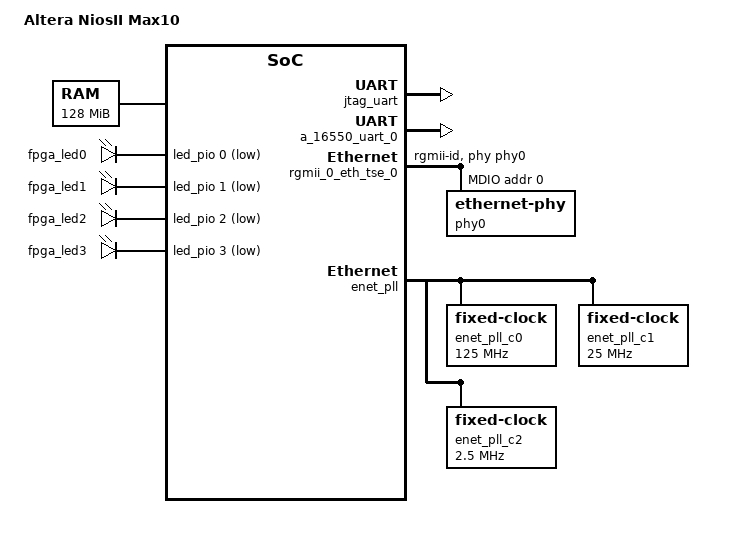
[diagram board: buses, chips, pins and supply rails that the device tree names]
// SPDX-License-Identifier: GPL-2.0-only
/*
 * Copyright (C) 2015 Altera Corporation. All rights reserved.
 */

/dts-v1/;

/ {
	model = "Altera NiosII Max10";
	compatible = "altr,niosii-max10";
	#address-cells = <1>;
	#size-cells = <1>;

	cpus {
		#address-cells = <1>;
		#size-cells = <0>;

		cpu: cpu@0 {
			device_type = "cpu";
			compatible = "altr,nios2-1.1";
			reg = <0x00000000>;
			interrupt-controller;
			#interrupt-cells = <1>;
			altr,exception-addr = <0xc8000120>;
			altr,fast-tlb-miss-addr = <0xc0000100>;
			altr,has-div = <1>;
			altr,has-initda = <1>;
			altr,has-mmu = <1>;
			altr,has-mul = <1>;
			altr,implementation = "fast";
			altr,pid-num-bits = <8>;
			altr,reset-addr = <0xd4000000>;
			altr,tlb-num-entries = <256>;
			altr,tlb-num-ways = <16>;
			altr,tlb-ptr-sz = <8>;
			clock-frequency = <75000000>;
			dcache-line-size = <32>;
			dcache-size = <32768>;
			icache-line-size = <32>;
			icache-size = <32768>;
		};
	};

	memory {
		device_type = "memory";
		reg = <0x08000000 0x08000000>,
			<0x00000000 0x00000400>;
	};

	sopc0: sopc@0 {
		device_type = "soc";
		ranges;
		#address-cells = <1>;
		#size-cells = <1>;
		compatible = "altr,avalon", "simple-bus";
		bus-frequency = <75000000>;

		jtag_uart: serial@18001530 {
			compatible = "altr,juart-1.0";
			reg = <0x18001530 0x00000008>;
			interrupt-parent = <&cpu>;
			interrupts = <7>;
		};

		a_16550_uart_0: serial@18001600 {
			compatible = "altr,16550-FIFO32", "ns16550a";
			reg = <0x18001600 0x00000200>;
			interrupt-parent = <&cpu>;
			interrupts = <1>;
			auto-flow-control = <1>;
			clock-frequency = <50000000>;
			fifo-size = <32>;
			reg-io-width = <4>;
			reg-shift = <2>;
			tx-threshold = <16>;
		};

		sysid: sysid@18001528 {
			compatible = "altr,sysid-1.0";
			reg = <0x18001528 0x00000008>;
			id = <4207856382>;
			timestamp = <1431309290>;
		};

		rgmii_0_eth_tse_0: ethernet@400 {
			compatible = "altr,tse-msgdma-1.0", "altr,tse-1.0";
			reg = <0x00000400 0x00000400>,
				<0x00000820 0x00000020>,
				<0x00000800 0x00000020>,
				<0x000008c0 0x00000008>,
				<0x00000840 0x00000020>,
				<0x00000860 0x00000020>;
			reg-names = "control_port", "rx_csr", "rx_desc", "rx_resp", "tx_csr", "tx_desc";
			interrupt-parent = <&cpu>;
			interrupts = <2 3>;
			interrupt-names = "rx_irq", "tx_irq";
			rx-fifo-depth = <8192>;
			tx-fifo-depth = <8192>;
			address-bits = <48>;
			max-frame-size = <1518>;
			local-mac-address = [00 00 00 00 00 00];
			altr,has-supplementary-unicast;
			altr,enable-sup-addr = <1>;
			altr,has-hash-multicast-filter;
			altr,enable-hash = <1>;
			phy-mode = "rgmii-id";
			phy-handle = <&phy0>;
			rgmii_0_eth_tse_0_mdio: mdio {
				compatible = "altr,tse-mdio";
				#address-cells = <1>;
				#size-cells = <0>;
				phy0: ethernet-phy@0 {
					reg = <0>;
					device_type = "ethernet-phy";
				};
			};
		};

		enet_pll: clock@0 {
			compatible = "altr,pll-1.0";
			#clock-cells = <1>;

			enet_pll_c0: enet_pll_c0 {
				compatible = "fixed-clock";
				#clock-cells = <0>;
				clock-frequency = <125000000>;
				clock-output-names = "enet_pll-c0";
			};

			enet_pll_c1: enet_pll_c1 {
				compatible = "fixed-clock";
				#clock-cells = <0>;
				clock-frequency = <25000000>;
				clock-output-names = "enet_pll-c1";
			};

			enet_pll_c2: enet_pll_c2 {
				compatible = "fixed-clock";
				#clock-cells = <0>;
				clock-frequency = <2500000>;
				clock-output-names = "enet_pll-c2";
			};
		};

		sys_pll: clock@1 {
			compatible = "altr,pll-1.0";
			#clock-cells = <1>;

			sys_pll_c0: sys_pll_c0 {
				compatible = "fixed-clock";
				#clock-cells = <0>;
				clock-frequency = <100000000>;
				clock-output-names = "sys_pll-c0";
			};

			sys_pll_c1: sys_pll_c1 {
				compatible = "fixed-clock";
				#clock-cells = <0>;
				clock-frequency = <50000000>;
				clock-output-names = "sys_pll-c1";
			};

			sys_pll_c2: sys_pll_c2 {
				compatible = "fixed-clock";
				#clock-cells = <0>;
				clock-frequency = <75000000>;
				clock-output-names = "sys_pll-c2";
			};
		};

		sys_clk_timer: timer@18001440 {
			compatible = "altr,timer-1.0";
			reg = <0x18001440 0x00000020>;
			interrupt-parent = <&cpu>;
			interrupts = <0>;
			clock-frequency = <75000000>;
		};

		led_pio: gpio@180014d0 {
			compatible = "altr,pio-1.0";
			reg = <0x180014d0 0x00000010>;
			altr,ngpio = <4>;
			#gpio-cells = <2>;
			gpio-controller;
		};

		button_pio: gpio@180014c0 {
			compatible = "altr,pio-1.0";
			reg = <0x180014c0 0x00000010>;
			interrupt-parent = <&cpu>;
			interrupts = <6>;
			altr,ngpio = <3>;
			altr,interrupt-type = <2>;
			edge_type = <1>;
			level_trigger = <0>;
			#gpio-cells = <2>;
			gpio-controller;
		};

		sys_clk_timer_1: timer@880 {
			compatible = "altr,timer-1.0";
			reg = <0x00000880 0x00000020>;
			interrupt-parent = <&cpu>;
			interrupts = <5>;
			clock-frequency = <75000000>;
		};

		fpga_leds: leds {
			compatible = "gpio-leds";

			led_fpga0: fpga0 {
				label = "fpga_led0";
				gpios = <&led_pio 0 1>;
			};

			led_fpga1: fpga1 {
				label = "fpga_led1";
				gpios = <&led_pio 1 1>;
			};

			led_fpga2: fpga2 {
				label = "fpga_led2";
				gpios = <&led_pio 2 1>;
			};

			led_fpga3: fpga3 {
				label = "fpga_led3";
				gpios = <&led_pio 3 1>;
			};
		};
	};

	chosen {
		bootargs = "debug earlycon console=ttyS0,115200";
		stdout-path = &a_16550_uart_0;
	};
};
